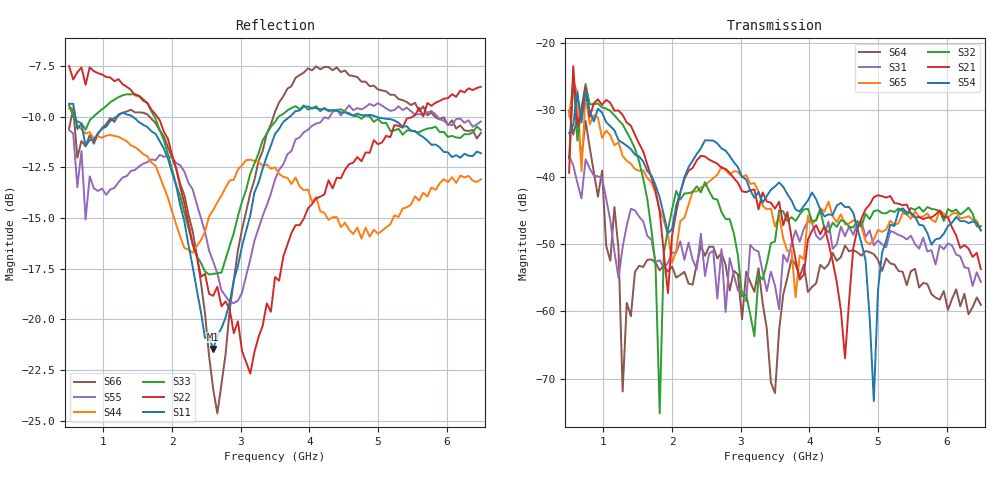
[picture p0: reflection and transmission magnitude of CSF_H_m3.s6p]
!Keysight Technologies,M9804A,MY58100912,A.14.10.03
!Date: Thursday, April 27, 2023 10:28:33
!Correction: S11(C  6-Port  )
!S12(C  6-Port  )
!S13(C  6-Port  )
!S14(C  6-Port  )
!S15(C  6-Port  )
!S16(C  6-Port  )
!S21(C  6-Port  )
!S22(C  6-Port  )
!S23(C  6-Port  )
!S24(C  6-Port  )
!S25(C  6-Port  )
!S26(C  6-Port  )
!S31(C  6-Port  )
!S32(C  6-Port  )
!S33(C  6-Port  )
!S34(C  6-Port  )
!S35(C  6-Port  )
!S36(C  6-Port  )
!S41(C  6-Port  )
!S42(C  6-Port  )
!S43(C  6-Port  )
!S44(C  6-Port  )
!S45(C  6-Port  )
!S46(C  6-Port  )
!S51(C  6-Port  )
!S52(C  6-Port  )
!S53(C  6-Port  )
!S54(C  6-Port  )
!S55(C  6-Port  )
!S56(C  6-Port  )
!S61(C  6-Port  )
!S62(C  6-Port  )
!S63(C  6-Port  )
!S64(C  6-Port  )
!S65(C  6-Port  )
!S66(C  6-Port  )
!S6P File: Measurement: :
# Hz S  RI  R 50
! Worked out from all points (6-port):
!   101 points, 500 MHz to 6.5 GHz, reference 50 ohm
!   strongest paths, dB at 500 MHz, 2 GHz, 3.5 GHz, 5 GHz, 6.5 GHz:
!     S54: -33.5, -47.7, -41.4, -56.9, -47.9
!     S21: -39.4, -48.7, -44.7, -42.7, -53.7
!     S32: -37.2, -44.8, -49.6, -44.9, -47.3
!     S65: -30.9, -52.8, -47.4, -47.9, -47.9
!     S31: -36.8, -51.2, -56.2, -49.4, -55.6
!     S64: -30.1, -53.3, -72.2, -52.3, -59.0
!   lowest |S11| = -21.5 dB at 2.6 GHz (marker M1), VSWR 1.18, Z = 42.5 + j2.22 ohm
!   |S11| at or under -10 dB: 590.9 MHz to 1.187 GHz (596.1 MHz wide, 67.1 % of centre); 1.428 GHz to 3.713 GHz (2.286 GHz wide, 88.9 % of centre); 4.978 GHz to end of sweep
